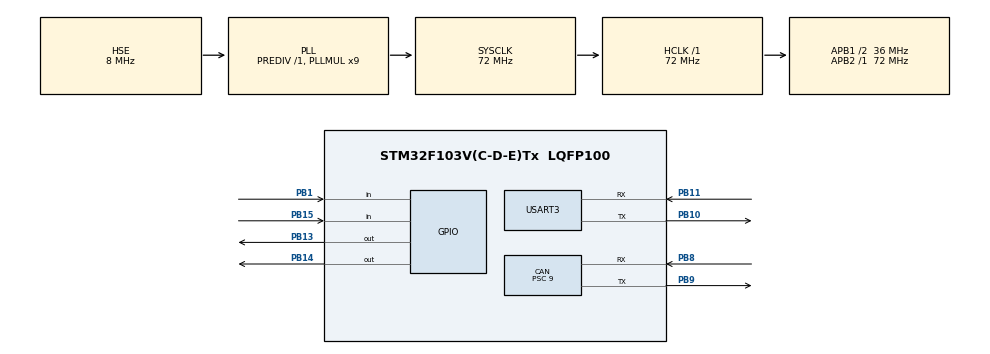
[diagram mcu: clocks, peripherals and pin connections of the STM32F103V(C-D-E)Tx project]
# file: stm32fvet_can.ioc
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CAN.BS1=CAN_BS1_5TQ
CAN.BS2=CAN_BS2_2TQ
CAN.CalculateBaudRate=500000
CAN.CalculateTimeBit=2000
CAN.CalculateTimeQuantum=250.0
CAN.Prescaler=9
FREERTOS.Tasks01=defaultTask,0,256,StartDefaultTask,Default,NULL,Dynamic,NULL,NULL;myTask02,-2,256,StartTask02,Default,NULL,Dynamic,NULL,NULL
FREERTOS.configUSE_NEWLIB_REENTRANT=1
Mcu.Family=STM32F1
Mcu.Name=STM32F103V(C-D-E)Tx
Mcu.Package=LQFP100
NVIC.PriorityGroup=NVIC_PRIORITYGROUP_4
NVIC.TIM6_IRQn=true\:15\:0\:false\:false\:true\:false\:false\:true\:true
NVIC.TimeBase=TIM6_IRQn
NVIC.TimeBaseIP=TIM6
NVIC.USB_HP_CAN1_TX_IRQn=true\:5\:0\:false\:false\:true\:true\:true\:true\:true
NVIC.USB_LP_CAN1_RX0_IRQn=true\:5\:0\:false\:false\:true\:true\:true\:true\:true
OSC_IN.Mode=HSE-External-Oscillator
OSC_IN.Signal=RCC_OSC_IN
OSC_OUT.Mode=HSE-External-Oscillator
OSC_OUT.Signal=RCC_OSC_OUT
PA13.Mode=Serial_Wire
PA13.Signal=SYS_JTMS-SWDIO
PA14.Mode=Serial_Wire
PA14.Signal=SYS_JTCK-SWCLK
PB1.Signal=GPIO_Input
PB10.Mode=Asynchronous
PB10.Signal=USART3_TX
PB11.Mode=Asynchronous
PB11.Signal=USART3_RX
PB13.GPIO_ModeDefaultOutputPP=GPIO_MODE_OUTPUT_OD
PB13.GPIO_PuPd=GPIO_NOPULL
PB13.PinState=GPIO_PIN_SET
PB13.Signal=GPIO_Output
PB14.GPIO_ModeDefaultOutputPP=GPIO_MODE_OUTPUT_OD
PB14.GPIO_PuPd=GPIO_NOPULL
PB14.PinState=GPIO_PIN_SET
PB14.Signal=GPIO_Output
PB15.Signal=GPIO_Input
PB8.GPIO_PuPd=GPIO_PULLUP
PB8.Mode=CAN_Activate
PB8.Signal=CAN_RX
PB9.Mode=CAN_Activate
PB9.Signal=CAN_TX
PC14-OSC32_IN.Mode=LSE-External-Oscillator
PC14-OSC32_IN.Signal=RCC_OSC32_IN
PC15-OSC32_OUT.Mode=LSE-External-Oscillator
PC15-OSC32_OUT.Signal=RCC_OSC32_OUT
ProjectManager.HeapSize=0x200
ProjectManager.StackSize=0x400
ProjectManager.TargetToolchain=STM32CubeIDE
RCC.AHBFreq_Value=72000000
RCC.APB1CLKDivider=RCC_HCLK_DIV2
RCC.APB1Freq_Value=36000000
RCC.APB1TimFreq_Value=72000000
RCC.APB2Freq_Value=72000000
RCC.APB2TimFreq_Value=72000000
RCC.HCLKFreq_Value=72000000
RCC.PLLMUL=RCC_PLL_MUL9
RCC.PLLSourceVirtual=RCC_PLLSOURCE_HSE
RCC.SYSCLKFreq_VALUE=72000000
RCC.SYSCLKSource=RCC_SYSCLKSOURCE_PLLCLK
RCC.USBFreq_Value=72000000
USART3.VirtualMode=VM_ASYNC
VP_FREERTOS_VS_CMSIS_V1.Mode=CMSIS_V1
VP_SYS_VS_tim6.Mode=TIM6
board=custom

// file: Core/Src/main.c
/* USER CODE BEGIN Header */
/**
  ******************************************************************************
  * @file           : main.c
  * @brief          : Main program body
  ******************************************************************************
  * @attention
  *
  * Copyright (c) 2024 STMicroelectronics.
  * All rights reserved.
  *
  * This software is licensed under terms that can be found in the LICENSE file
  * in the root directory of this software component.
  * If no LICENSE file comes with this software, it is provided AS-IS.
  *
  ******************************************************************************
  */
/* USER CODE END Header */
#include "main.h"
#include "cmsis_os.h"
#include "can.h"
#include "usart.h"
#include "gpio.h"

/* USER CODE BEGIN Includes */
#include <stdio.h>
/* USER CODE END Includes */

/* USER CODE BEGIN PD */
#ifdef __GNUC__
    #define PUTCHAR_PROTOTYPE int __io_putchar(int ch)
#else
    #define PUTCHAR_PROTOTYPE int fputc(int ch, FILE *f)
#endif

PUTCHAR_PROTOTYPE {
    HAL_UART_Transmit(&huart3, (uint8_t *)&ch, 1, HAL_MAX_DELAY);
    return ch;
}
/* USER CODE END PD */

void SystemClock_Config(void);
void MX_FREERTOS_Init(void);

int main(void)
{

  /* MCU Configuration--------------------------------------------------------*/

  /* Reset of all peripherals, Initializes the Flash interface and the Systick. */
  HAL_Init();

  /* Configure the system clock */
  SystemClock_Config();

  /* Initialize all configured peripherals */
  MX_GPIO_Init();
  MX_CAN_Init();
  MX_USART3_UART_Init();
  /* USER CODE BEGIN 2 */
  printf("Hello vet\n");

  /* USER CODE END 2 */

  /* Call init function for freertos objects (in cmsis_os2.c) */
  MX_FREERTOS_Init();

  /* Start scheduler */
  osKernelStart();

  /* We should never get here as control is now taken by the scheduler */

  /* Infinite loop */
  while (1)
  {

  }
}

void SystemClock_Config(void)
{
  RCC_OscInitTypeDef RCC_OscInitStruct = {0};
  RCC_ClkInitTypeDef RCC_ClkInitStruct = {0};

  /** Initializes the RCC Oscillators according to the specified parameters
  * in the RCC_OscInitTypeDef structure.
  */
  RCC_OscInitStruct.OscillatorType = RCC_OSCILLATORTYPE_HSE;
  RCC_OscInitStruct.HSEState = RCC_HSE_ON;
  RCC_OscInitStruct.HSEPredivValue = RCC_HSE_PREDIV_DIV1;
  RCC_OscInitStruct.HSIState = RCC_HSI_ON;
  RCC_OscInitStruct.PLL.PLLState = RCC_PLL_ON;
  RCC_OscInitStruct.PLL.PLLSource = RCC_PLLSOURCE_HSE;
  RCC_OscInitStruct.PLL.PLLMUL = RCC_PLL_MUL9;
  if (HAL_RCC_OscConfig(&RCC_OscInitStruct) != HAL_OK)
  {
    Error_Handler();
  }

  /** Initializes the CPU, AHB and APB buses clocks
  */
  RCC_ClkInitStruct.ClockType = RCC_CLOCKTYPE_HCLK|RCC_CLOCKTYPE_SYSCLK
                              |RCC_CLOCKTYPE_PCLK1|RCC_CLOCKTYPE_PCLK2;
  RCC_ClkInitStruct.SYSCLKSource = RCC_SYSCLKSOURCE_PLLCLK;
  RCC_ClkInitStruct.AHBCLKDivider = RCC_SYSCLK_DIV1;
  RCC_ClkInitStruct.APB1CLKDivider = RCC_HCLK_DIV2;
  RCC_ClkInitStruct.APB2CLKDivider = RCC_HCLK_DIV1;

  if (HAL_RCC_ClockConfig(&RCC_ClkInitStruct, FLASH_LATENCY_2) != HAL_OK)
  {
    Error_Handler();
  }
}

void HAL_TIM_PeriodElapsedCallback(TIM_HandleTypeDef *htim)
{
  if (htim->Instance == TIM6) {
    HAL_IncTick();
  }
}

void Error_Handler(void)
{
  __disable_irq();
  while (1)
  {
  }
}

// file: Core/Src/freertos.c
/* USER CODE BEGIN Header */
/**
  ******************************************************************************
  * File Name          : freertos.c
  * Description        : Code for freertos applications
  ******************************************************************************
  * @attention
  *
  * Copyright (c) 2024 STMicroelectronics.
  * All rights reserved.
  *
  * This software is licensed under terms that can be found in the LICENSE file
  * in the root directory of this software component.
  * If no LICENSE file comes with this software, it is provided AS-IS.
  *
  ******************************************************************************
  */
/* USER CODE END Header */

#include "FreeRTOS.h"
#include "task.h"
#include "main.h"
#include "cmsis_os.h"

/* USER CODE BEGIN Includes */
#include <stdio.h>
/* USER CODE END Includes */

osThreadId defaultTaskHandle;
osThreadId myTask02Handle;

void StartDefaultTask(void const * argument);
void StartTask02(void const * argument);

void MX_FREERTOS_Init(void); /* (MISRA C 2004 rule 8.1) */

/* GetIdleTaskMemory prototype (linked to static allocation support) */
void vApplicationGetIdleTaskMemory( StaticTask_t **ppxIdleTaskTCBBuffer, StackType_t **ppxIdleTaskStackBuffer, uint32_t *pulIdleTaskStackSize );

/* USER CODE BEGIN GET_IDLE_TASK_MEMORY */
static StaticTask_t xIdleTaskTCBBuffer;
static StackType_t xIdleStack[configMINIMAL_STACK_SIZE];

void vApplicationGetIdleTaskMemory( StaticTask_t **ppxIdleTaskTCBBuffer, StackType_t **ppxIdleTaskStackBuffer, uint32_t *pulIdleTaskStackSize )
{
  *ppxIdleTaskTCBBuffer = &xIdleTaskTCBBuffer;
  *ppxIdleTaskStackBuffer = &xIdleStack[0];
  *pulIdleTaskStackSize = configMINIMAL_STACK_SIZE;
  /* place for user code */
}
/* USER CODE END GET_IDLE_TASK_MEMORY */

void MX_FREERTOS_Init(void) {

  /* Create the thread(s) */
  /* definition and creation of defaultTask */
  osThreadDef(defaultTask, StartDefaultTask, osPriorityNormal, 0, 256);
  defaultTaskHandle = osThreadCreate(osThread(defaultTask), NULL);

  /* definition and creation of myTask02 */
  osThreadDef(myTask02, StartTask02, osPriorityLow, 0, 256);
  myTask02Handle = osThreadCreate(osThread(myTask02), NULL);

}

/* USER CODE BEGIN Header_StartDefaultTask */
/**
  * @brief  Function implementing the defaultTask thread.
  * @param  argument: Not used
  * @retval None
  */

extern CAN_HandleTypeDef hcan;

/* USER CODE END Header_StartDefaultTask */
void StartDefaultTask(void const * argument)
{
  /* USER CODE BEGIN StartDefaultTask */
	  uint8_t tx_data[8] = {0};
	  uint32_t tx_mailbox_number;

	  // setup transmit header
	  CAN_TxHeaderTypeDef tx_header;
	  tx_header.StdId = 0x055;
	  tx_header.RTR = CAN_RTR_DATA;
	  tx_header.IDE = CAN_ID_STD;
	  tx_header.DLC = 1U;
	  tx_header.TransmitGlobalTime = DISABLE;

  /* Infinite loop */
  for(;;)
  {
	  printf("send %d\n", tx_data[0]);
	  tx_data[0] = !tx_data[0];

	  HAL_CAN_AddTxMessage(&hcan, &tx_header, tx_data, &tx_mailbox_number);

	  HAL_GPIO_TogglePin(GPIOB, GPIO_PIN_14);
	  osDelay(1000);
  }
  /* USER CODE END StartDefaultTask */
}

void StartTask02(void const * argument)
{
  /* USER CODE BEGIN StartTask02 */

  /* Infinite loop */
  for(;;)
  {
    osDelay(10);

  }
  /* USER CODE END StartTask02 */
}

/* USER CODE BEGIN Application */

// Callback for receiving messages via interrupt
  void HAL_CAN_RxFifo0MsgPendingCallback(CAN_HandleTypeDef *CanHandle)
  {

  	printf("HAL_CAN_RxFifo0MsgPendingCallback");
  	HAL_GPIO_TogglePin(GPIOB, GPIO_PIN_13);
    CAN_RxHeaderTypeDef rx_header;
    uint8_t rx_data[8];

    // read received message
  //  HAL_CAN_GetRxMessage(CanHandle, CAN_RX_FIFO0, &rx_header, rx_data);
  //
  //  if ((rx_header.StdId == 0x555U) && (rx_header.IDE == CAN_ID_STD) && (rx_header.DLC == 1U))
  //  {
  //	HAL_GPIO_WritePin(GPIOC, GPIO_PIN_13, rx_data[0]);
  //  }

  	HAL_CAN_GetRxMessage(CanHandle, CAN_RX_FIFO0, &rx_header, rx_data);
  	//HAL_GPIO_TogglePin(GPIOA, GPIO_PIN_3);

  	if (rx_header.StdId == 0x34) {
  		HAL_GPIO_TogglePin(GPIOB, GPIO_PIN_14);
  	}

  }

/* USER CODE END Application */
